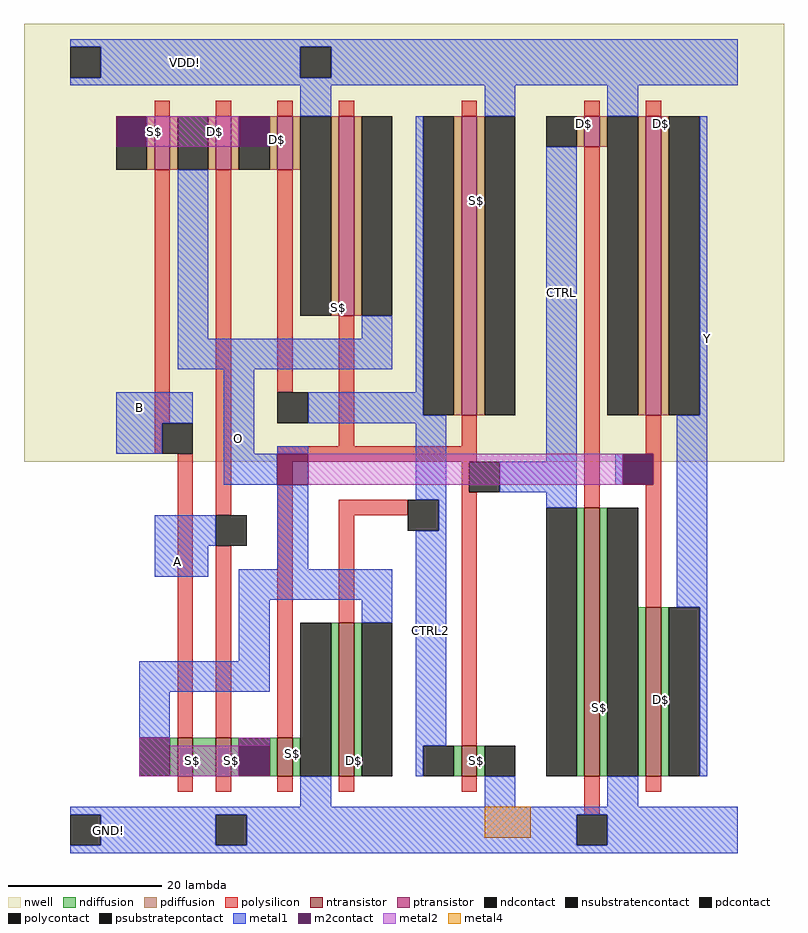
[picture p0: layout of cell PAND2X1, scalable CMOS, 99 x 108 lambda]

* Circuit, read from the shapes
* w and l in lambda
.subckt PAND2X1 VDD! GND! B A Y
M1 n1 B O GND! nfet w=5 l=2
M2 n2 A n1 GND! nfet w=5 l=2
M3 GND! CTRL n2 GND! nfet w=5 l=2
M4 O CTRL2 GND! GND! nfet w=20 l=2
M5 GND! CTRL CTRL2 GND! nfet w=4 l=2
M6 GND! GND! CTRL GND! nfet w=35 l=2
M7 Y O GND! GND! nfet w=22 l=2
M8 O B n3 VDD! pfet w=7 l=2
M9 n3 A O VDD! pfet w=7 l=2
M10 VDD! CTRL2 n3 VDD! pfet w=7 l=2
M11 O CTRL VDD! VDD! pfet w=26 l=2
M12 VDD! CTRL CTRL2 VDD! pfet w=39 l=2
M13 VDD! GND! CTRL VDD! pfet w=4 l=2
M14 Y O VDD! VDD! pfet w=39 l=2
.ends

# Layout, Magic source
magic
tech scmos
<< nwell >>
rect -8 48 91 105
<< ntransistor >>
rect 12 7 14 12
rect 17 7 19 12
rect 25 7 27 12
rect 33 7 35 27
rect 49 7 51 11
rect 65 7 67 42
rect 73 7 75 29
<< ptransistor >>
rect 9 86 11 93
rect 17 86 19 93
rect 25 86 27 93
rect 33 67 35 93
rect 49 54 51 93
rect 65 89 67 93
rect 73 54 75 93
<< ndiffusion >>
rect 11 7 12 12
rect 14 7 17 12
rect 19 7 20 12
rect 24 7 25 12
rect 27 7 28 12
rect 32 7 33 27
rect 35 7 36 27
rect 48 7 49 11
rect 51 7 52 11
rect 64 7 65 42
rect 67 7 68 42
rect 72 7 73 29
rect 75 7 76 29
<< pdiffusion >>
rect 8 86 9 93
rect 11 86 12 93
rect 16 86 17 93
rect 19 86 20 93
rect 24 86 25 93
rect 27 86 28 93
rect 32 67 33 93
rect 35 67 36 93
rect 48 54 49 93
rect 51 54 52 93
rect 64 89 65 93
rect 67 89 68 93
rect 72 54 73 93
rect 75 54 76 93
<< ndcontact >>
rect 7 7 11 12
rect 20 7 24 12
rect 28 7 32 27
rect 36 7 40 27
rect 44 7 48 11
rect 52 7 56 11
rect 60 7 64 42
rect 68 7 72 42
rect 76 7 80 29
<< pdcontact >>
rect 4 86 8 93
rect 12 86 16 93
rect 20 86 24 93
rect 28 67 32 93
rect 36 67 40 93
rect 44 54 48 93
rect 52 54 56 93
rect 60 89 64 93
rect 68 54 72 93
rect 76 54 80 93
<< psubstratepcontact >>
rect -2 -2 2 2
rect 17 -2 21 2
<< nsubstratencontact >>
rect -2 98 2 102
rect 28 98 32 102
<< polysilicon >>
rect 9 93 11 95
rect 17 93 19 95
rect 25 93 27 95
rect 33 93 35 95
rect 49 93 51 95
rect 65 93 67 95
rect 73 93 75 95
rect 9 53 11 86
rect 9 49 10 53
rect 12 12 14 49
rect 17 41 19 86
rect 25 57 27 86
rect 33 50 35 67
rect 49 50 51 54
rect 25 48 51 50
rect 17 12 19 37
rect 25 12 27 48
rect 49 44 50 48
rect 33 41 42 43
rect 33 27 35 41
rect 49 11 51 44
rect 65 42 67 89
rect 73 49 75 54
rect 74 45 75 49
rect 73 29 75 45
rect 12 5 14 7
rect 17 5 19 7
rect 25 5 27 7
rect 33 5 35 7
rect 49 5 51 7
rect 65 2 67 7
rect 73 5 75 7
<< polycontact >>
rect 10 49 14 53
rect 25 53 29 57
rect 17 37 21 41
rect 50 44 54 48
rect 42 39 46 43
rect 70 45 74 49
rect 64 -2 68 2
<< metal1 >>
rect -2 102 85 103
rect 2 98 28 102
rect 32 98 85 102
rect -2 97 85 98
rect 28 93 32 97
rect 52 93 56 97
rect 68 93 72 97
rect 12 64 16 86
rect 36 64 40 67
rect 12 60 40 64
rect 4 53 14 57
rect 4 49 10 53
rect 18 49 22 60
rect 43 57 44 93
rect 29 54 44 57
rect 29 53 47 54
rect 25 49 29 50
rect 18 45 25 49
rect 9 37 17 41
rect 9 33 16 37
rect 25 34 29 45
rect 43 43 47 53
rect 60 48 64 89
rect 80 54 81 93
rect 54 44 64 48
rect 69 45 70 49
rect 46 39 47 43
rect 20 30 40 34
rect 20 22 24 30
rect 36 27 40 30
rect 7 18 24 22
rect 7 12 11 18
rect 43 11 47 39
rect 60 42 64 44
rect 43 7 44 11
rect 77 29 81 54
rect 80 7 81 29
rect 28 3 32 7
rect 52 3 56 7
rect 68 3 72 7
rect -2 2 85 3
rect 2 -2 17 2
rect 21 -2 64 2
rect 68 -2 85 2
rect -2 -3 85 -2
<< m2contact >>
rect 4 89 8 93
rect 20 89 24 93
rect 25 45 29 49
rect 70 45 74 49
rect 20 7 24 11
<< metal2 >>
rect 8 89 20 93
rect 29 45 70 49
rect 7 11 11 12
rect 20 11 24 12
rect 7 7 20 11
<< metal4 >>
rect 52 -1 58 3
<< labels >>
rlabel ntransistor 14 9 14 9 1 S$
rlabel ntransistor 12 9 12 9 1 D$
rlabel ntransistor 19 9 19 9 1 S$
rlabel ntransistor 17 9 17 9 1 D$
rlabel metal1 3 0 3 0 1 GND!
port 2 n power bidirectional
rlabel metal1 13 100 13 100 1 VDD!
port 1 n power bidirectional
rlabel metal1 62 70 62 70 1 CTRL
rlabel ntransistor 67 16 67 16 1 S$
rlabel ntransistor 65 16 65 16 1 D$
rlabel ptransistor 65 92 65 92 1 D$
rlabel ptransistor 67 92 67 92 1 S$
rlabel metal1 81 62 81 66 1 Y
port 5 n signal output
rlabel ptransistor 75 92 75 92 1 D$
rlabel ptransistor 73 92 73 92 1 S$
rlabel ntransistor 75 17 75 17 1 D$
rlabel ntransistor 73 17 73 17 1 S$
rlabel ntransistor 51 9 51 9 1 S$
rlabel ntransistor 49 9 49 9 1 D$
rlabel metal1 45 26 45 26 1 CTRL2
rlabel ptransistor 51 82 51 82 1 S$
rlabel ptransistor 49 82 49 82 1 D$
rlabel ntransistor 35 9 35 9 1 D$
rlabel ntransistor 33 9 33 9 1 S$
rlabel metal1 20 51 20 51 1 O
rlabel ptransistor 33 68 33 68 1 S$
rlabel ptransistor 35 68 35 68 1 D$
rlabel ptransistor 9 91 9 91 1 S$
rlabel ptransistor 11 91 11 91 1 D$
rlabel ptransistor 17 91 17 91 1 D$
rlabel ptransistor 19 91 19 91 1 S$
rlabel ptransistor 25 90 25 90 1 D$
rlabel ptransistor 27 90 27 90 1 S$
rlabel ntransistor 27 10 27 10 1 S$
rlabel ntransistor 25 10 25 10 1 D$
rlabel metal1 7 53 7 57 1 B
port 3 n signal input
rlabel metal1 12 33 12 37 1 A
port 4 n signal input
<< end >>
